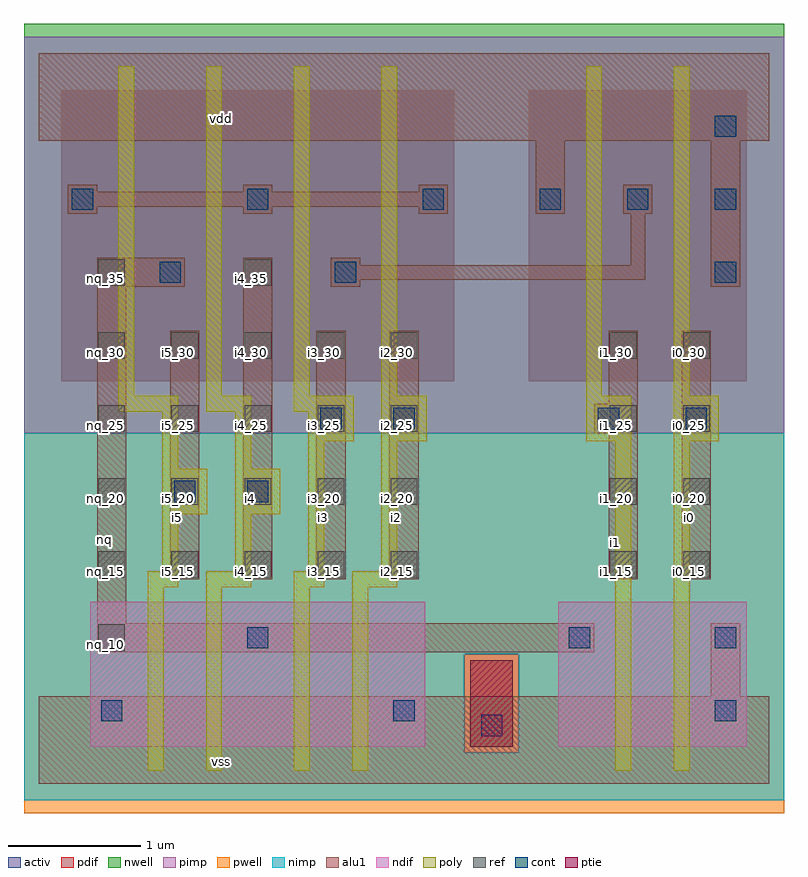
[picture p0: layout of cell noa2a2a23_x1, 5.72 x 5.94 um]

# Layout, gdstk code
import gdstk
lib = gdstk.Library(unit=1e-6, precision=2.5e-09)
def R(c, l, rs):  # rectangles x0, y0, x1, y1
    for r in rs: c.add(gdstk.rectangle(r[:2], r[2:], *l))
def A(c, l, x, y, w, h, nx, ny, dx, dy):  # array of equal rectangles
    R(c, l, [(x+i*dx, y+j*dy, x+i*dx+w, y+j*dy+h) for i in range(nx) for j in range(ny)])
ndif = (3, 0)
pdif = (4, 0)
ptie = (6, 0)
ref = (24, 0)
cont = (25, 0)
pwell = (41, 0)
nwell = (42, 0)
activ = (43, 0)
pimp = (44, 0)
nimp = (45, 0)
poly = (46, 0)
alu1 = (49, 0)

noa2a2a23_x1 = lib.new_cell('noa2a2a23_x1')
R(noa2a2a23_x1, ndif, [(0.39,0.28,2.91,1.37), (0.39,0.28,2.91,1.37), (3.91,0.28,5.33,1.37), (3.91,0.28,5.33,1.37)])
R(noa2a2a23_x1, pdif, [(0.17,3.03,3.13,5.22), (0.17,3.03,3.13,5.22), (3.69,3.03,5.33,5.22), (3.69,3.03,5.33,5.22)])
R(noa2a2a23_x1, ptie, [(3.25,0.28,3.57,0.93), (3.25,0.28,3.57,0.93)])
A(noa2a2a23_x1, ref, 0.45, 1.55, 0.2, 0.2, 5, 4, 0.55, 0.55)
A(noa2a2a23_x1, ref, 4.3, 1.55, 0.2, 0.2, 1, 4, 0, 0.55)
A(noa2a2a23_x1, ref, 4.85, 1.55, 0.2, 0.2, 1, 4, 0, 0.55)
R(noa2a2a23_x1, ref, [(0.45,1,0.65,1.2), (0.45,3.75,0.65,3.95), (1.55,3.75,1.75,3.95)])
A(noa2a2a23_x1, cont, 0.25, 4.32, 0.16, 0.16, 3, 1, 1.32, 0)
A(noa2a2a23_x1, cont, 3.77, 4.32, 0.16, 0.16, 3, 1, 0.66, 0)
R(noa2a2a23_x1, cont, [(3.33,0.36,3.49,0.52), (0.47,0.47,0.63,0.63), (2.67,0.47,2.83,0.63), (5.09,0.47,5.25,0.63), (1.57,1.02,1.73,1.18), (3.99,1.02,4.15,1.18), (5.09,1.02,5.25,1.18), (1.02,2.12,1.18,2.28), (1.57,2.12,1.73,2.28), (2.12,2.67,2.28,2.83), (2.67,2.67,2.83,2.83), (4.21,2.67,4.37,2.83), (4.87,2.67,5.03,2.83), (0.91,3.77,1.07,3.93), (2.23,3.77,2.39,3.93), (5.09,3.77,5.25,3.93), (5.09,4.87,5.25,5.03)])
R(noa2a2a23_x1, pwell, [(-0.11,-0.22,5.61,2.64)])
R(noa2a2a23_x1, nwell, [(-0.11,2.64,5.61,5.72)])
R(noa2a2a23_x1, activ, [(0.39,0.28,2.91,1.37), (0.39,0.28,2.91,1.37), (3.25,0.28,3.57,0.93), (3.25,0.28,3.57,0.93), (3.91,0.28,5.33,1.37), (3.91,0.28,5.33,1.37), (0.17,3.03,3.13,5.22), (0.17,3.03,3.13,5.22), (3.69,3.03,5.33,5.22), (3.69,3.03,5.33,5.22)])
R(noa2a2a23_x1, pimp, [(3.205,0.235,3.615,0.975), (-0.11,2.64,5.61,5.625)])
R(noa2a2a23_x1, nimp, [(-0.11,-0.125,5.61,0.235), (-0.11,0.235,3.205,0.975), (3.615,0.235,5.61,0.975), (-0.11,0.975,5.61,2.64)])
A(noa2a2a23_x1, poly, 0.6, 2.92, 0.12, 2.48, 4, 1, 0.66, 0)
R(noa2a2a23_x1, poly, [(0.82,0.1,0.94,1.48), (1.26,0.1,1.38,1.48), (1.92,0.1,2.04,1.48), (2.36,0.1,2.48,1.48), (4.34,0.1,4.46,2.58), (4.78,0.1,4.9,2.58), (0.82,1.48,1.05,1.6), (1.26,1.48,1.6,1.6), (1.92,1.48,2.15,1.6), (2.36,1.48,2.7,1.6), (0.93,1.6,1.05,2.03), (1.48,1.6,1.6,2.03), (2.03,1.6,2.15,2.58), (2.58,1.6,2.7,2.58), (0.93,2.03,1.27,2.37), (1.48,2.03,1.82,2.37), (0.93,2.37,1.05,2.8), (1.48,2.37,1.6,2.8), (2.03,2.58,2.37,2.8), (2.58,2.58,2.92,2.92), (4.12,2.58,4.46,2.92), (4.78,2.58,5.12,2.92), (0.6,2.8,1.05,2.92), (1.26,2.8,1.6,2.92), (1.92,2.8,2.37,2.92), (4.12,2.92,4.24,5.4), (4.78,2.92,4.9,5.4)])
A(noa2a2a23_x1, alu1, 0.22, 4.29, 0.22, 0.055, 3, 2, 1.32, 0.165)
R(noa2a2a23_x1, alu1, [(0,0,5.5,0.66), (5.06,0.66,5.28,1.21), (0.44,0.99,4.18,1.21), (0.44,1.21,0.66,3.74), (0.99,1.54,1.21,3.41), (1.54,1.54,1.76,3.96), (2.09,1.54,2.31,3.41), (2.64,1.54,2.86,3.41), (4.29,1.54,4.51,2.64), (4.84,1.54,5.06,3.41), (4.18,2.64,4.51,2.86), (4.29,2.86,4.51,3.41), (0.44,3.74,1.1,3.96), (2.2,3.74,2.42,3.795), (5.06,3.74,5.28,4.84), (2.2,3.795,4.565,3.905), (2.2,3.905,2.42,3.96), (4.455,3.905,4.565,4.29), (3.74,4.29,3.96,4.84), (4.4,4.29,4.62,4.51), (0.22,4.345,3.08,4.455), (0,4.84,5.5,5.5)])
noa2a2a23_x1.add(gdstk.Label('vss', (1.375,0.165), layer=49, texttype=0))
noa2a2a23_x1.add(gdstk.Label('i0', (4.895,2.0075), layer=49, texttype=0))
noa2a2a23_x1.add(gdstk.Label('i1', (4.345,1.815), layer=49, texttype=0))
noa2a2a23_x1.add(gdstk.Label('i2', (2.695,2.0075), layer=49, texttype=0))
noa2a2a23_x1.add(gdstk.Label('i3', (2.145,2.0075), layer=49, texttype=0))
noa2a2a23_x1.add(gdstk.Label('i4', (1.595,2.145), layer=49, texttype=0))
noa2a2a23_x1.add(gdstk.Label('i5', (1.045,2.0075), layer=49, texttype=0))
noa2a2a23_x1.add(gdstk.Label('nq', (0.495,1.8425), layer=49, texttype=0))
noa2a2a23_x1.add(gdstk.Label('vdd', (1.375,5.005), layer=49, texttype=0))
noa2a2a23_x1.add(gdstk.Label('i5_20', (1.05,2.15), layer=24, texttype=0))
noa2a2a23_x1.add(gdstk.Label('i5_25', (1.05,2.7), layer=24, texttype=0))
noa2a2a23_x1.add(gdstk.Label('i5_30', (1.05,3.25), layer=24, texttype=0))
noa2a2a23_x1.add(gdstk.Label('i5_15', (1.05,1.6), layer=24, texttype=0))
noa2a2a23_x1.add(gdstk.Label('i3_15', (2.15,1.6), layer=24, texttype=0))
noa2a2a23_x1.add(gdstk.Label('i3_25', (2.15,2.7), layer=24, texttype=0))
noa2a2a23_x1.add(gdstk.Label('i3_30', (2.15,3.25), layer=24, texttype=0))
noa2a2a23_x1.add(gdstk.Label('i2_15', (2.7,1.6), layer=24, texttype=0))
noa2a2a23_x1.add(gdstk.Label('i2_20', (2.7,2.15), layer=24, texttype=0))
noa2a2a23_x1.add(gdstk.Label('i2_25', (2.7,2.7), layer=24, texttype=0))
noa2a2a23_x1.add(gdstk.Label('i2_30', (2.7,3.25), layer=24, texttype=0))
noa2a2a23_x1.add(gdstk.Label('i3_20', (2.15,2.15), layer=24, texttype=0))
noa2a2a23_x1.add(gdstk.Label('i4_15', (1.6,1.6), layer=24, texttype=0))
noa2a2a23_x1.add(gdstk.Label('i4_20', (1.6,2.15), layer=24, texttype=0))
noa2a2a23_x1.add(gdstk.Label('i4_25', (1.6,2.7), layer=24, texttype=0))
noa2a2a23_x1.add(gdstk.Label('nq_25', (0.5,2.7), layer=24, texttype=0))
noa2a2a23_x1.add(gdstk.Label('nq_20', (0.5,2.15), layer=24, texttype=0))
noa2a2a23_x1.add(gdstk.Label('nq_15', (0.5,1.6), layer=24, texttype=0))
noa2a2a23_x1.add(gdstk.Label('nq_35', (0.5,3.8), layer=24, texttype=0))
noa2a2a23_x1.add(gdstk.Label('nq_30', (0.5,3.25), layer=24, texttype=0))
noa2a2a23_x1.add(gdstk.Label('i1_20', (4.35,2.15), layer=24, texttype=0))
noa2a2a23_x1.add(gdstk.Label('i0_25', (4.9,2.7), layer=24, texttype=0))
noa2a2a23_x1.add(gdstk.Label('i0_20', (4.9,2.15), layer=24, texttype=0))
noa2a2a23_x1.add(gdstk.Label('i0_15', (4.9,1.6), layer=24, texttype=0))
noa2a2a23_x1.add(gdstk.Label('i0_30', (4.9,3.25), layer=24, texttype=0))
noa2a2a23_x1.add(gdstk.Label('i1_30', (4.35,3.25), layer=24, texttype=0))
noa2a2a23_x1.add(gdstk.Label('i1_25', (4.35,2.7), layer=24, texttype=0))
noa2a2a23_x1.add(gdstk.Label('i1_15', (4.35,1.6), layer=24, texttype=0))
noa2a2a23_x1.add(gdstk.Label('nq_10', (0.5,1.05), layer=24, texttype=0))
noa2a2a23_x1.add(gdstk.Label('i4_30', (1.6,3.25), layer=24, texttype=0))
noa2a2a23_x1.add(gdstk.Label('i4_35', (1.6,3.8), layer=24, texttype=0))

lib.write_gds('noa2a2a23_x1.gds')
